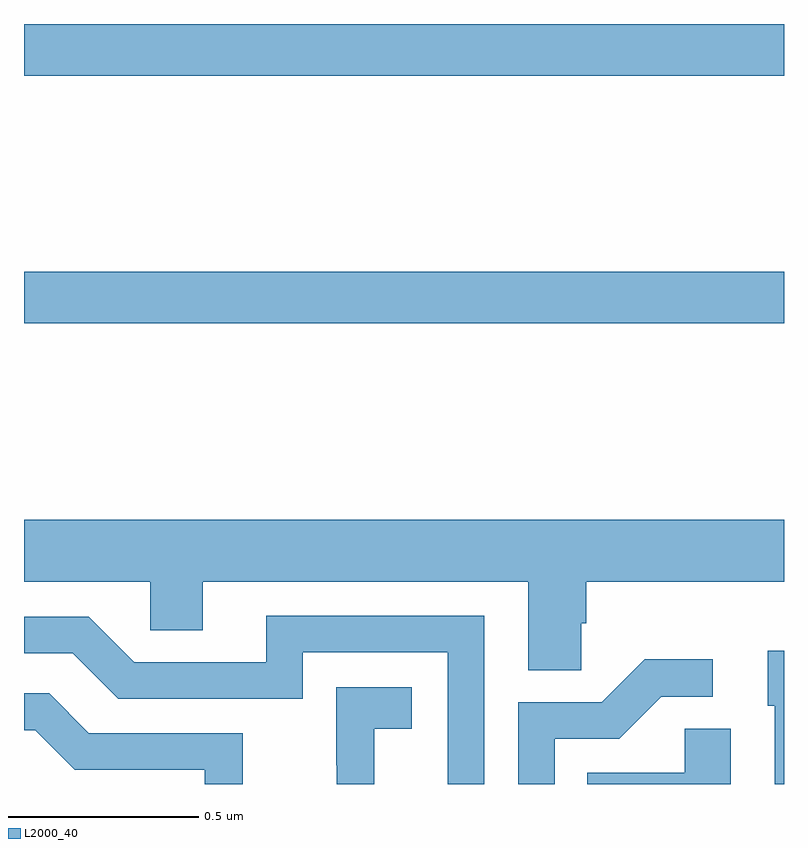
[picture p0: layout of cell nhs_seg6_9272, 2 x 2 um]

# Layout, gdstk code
import gdstk
lib = gdstk.Library(unit=1e-6, precision=1e-09)
def R(c, l, rs):  # rectangles x0, y0, x1, y1
    for r in rs: c.add(gdstk.rectangle(r[:2], r[2:], *l))
def P(c, l, *ps):  # polygons
    for p in ps: c.add(gdstk.Polygon(p, *l))
L2000_40 = (2000, 40)

nhs_seg6_9272 = lib.new_cell('nhs_seg6_9272')
R(nhs_seg6_9272, L2000_40, [(232,918.712,234,918.848), (232,919.364,234,919.5)])
P(nhs_seg6_9272, L2000_40, [(233.466,917.923),(233.48,917.923),(233.48,918.032),(234,918.032),(234,918.196),(232,918.196),(232,918.032),(232.332,918.032),(232.332,917.905),(232.471,917.905),(232.471,918.032),(233.327,918.032),(233.327,917.8),(233.466,917.8)],
  [(233.211,917.943),(232.637,917.943),(232.637,917.82),(232.29,917.82),(232.17,917.94),(232,917.94),(232,917.844),(232.128,917.844),(232.248,917.724),(232.734,917.724),(232.734,917.847),(233.115,917.847),(233.115,917.5),(233.211,917.5)],
  [(234,917.851),(233.957,917.851),(233.957,917.706),(233.976,917.706),(233.976,917.5),(234,917.5)],
  [(233.397,917.619),(233.566,917.619),(233.677,917.73),(233.812,917.73),(233.812,917.828),(233.633,917.828),(233.52,917.715),(233.301,917.715),(233.301,917.5),(233.397,917.5)],
  [(232.922,917.645),(233.02,917.645),(233.02,917.755),(232.822,917.755),(232.822,917.549),(232.823,917.549),(232.823,917.5),(232.922,917.5)],
  [(232.575,917.634),(232.171,917.634),(232.066,917.739),(232,917.739),(232,917.642),(232.03,917.642),(232.134,917.538),(232.476,917.538),(232.476,917.5),(232.575,917.5)],
  [(233.86,917.645),(233.739,917.645),(233.739,917.53),(233.482,917.53),(233.482,917.5),(233.86,917.5)])

lib.write_gds('nhs_seg6_9272.gds')
